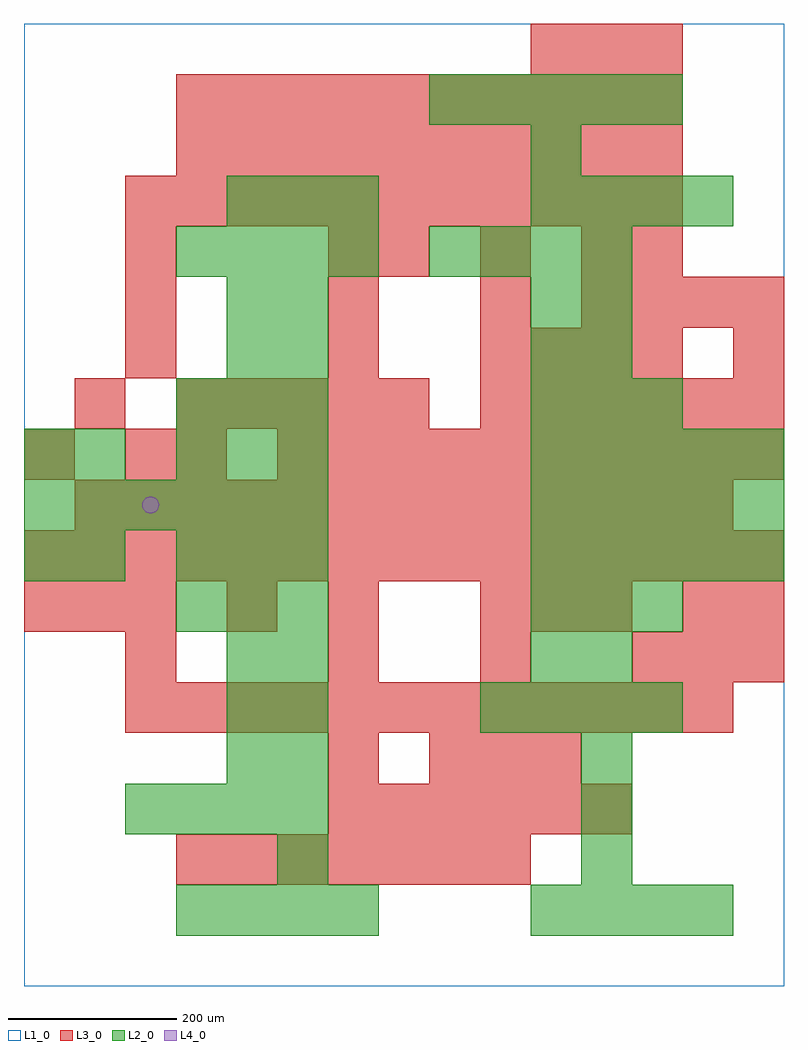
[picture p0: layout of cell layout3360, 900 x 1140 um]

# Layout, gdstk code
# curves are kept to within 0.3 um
import gdstk
lib = gdstk.Library(unit=1e-6, precision=1e-09)
def R(c, l, rs):  # rectangles x0, y0, x1, y1
    for r in rs: c.add(gdstk.rectangle(r[:2], r[2:], *l))
def A(c, l, x, y, w, h, nx, ny, dx, dy):  # array of equal rectangles
    R(c, l, [(x+i*dx, y+j*dy, x+i*dx+w, y+j*dy+h) for i in range(nx) for j in range(ny)])
def P(c, l, *ps):  # polygons
    for p in ps: c.add(gdstk.Polygon(p, *l))
L1_0 = (1, 0)
L2_0 = (2, 0)
L3_0 = (3, 0)
L4_0 = (4, 0)

layout3360 = lib.new_cell('layout3360')
R(layout3360, L1_0, [(0,0,900,1140)])
A(layout3360, L2_0, 180, 60, 60, 60, 4, 2, 60, 780)
A(layout3360, L2_0, 600, 60, 60, 60, 4, 2, 60, 840)
A(layout3360, L2_0, 660, 120, 60, 60, 1, 3, 0, 60)
A(layout3360, L2_0, 120, 180, 60, 60, 4, 1, 60, 0)
A(layout3360, L2_0, 240, 240, 60, 60, 1, 3, 0, 60)
A(layout3360, L2_0, 300, 240, 60, 60, 1, 3, 0, 60)
A(layout3360, L2_0, 540, 300, 60, 60, 4, 1, 60, 0)
A(layout3360, L2_0, 180, 420, 60, 60, 3, 2, 60, 60)
A(layout3360, L2_0, 600, 420, 60, 60, 3, 2, 60, 240)
A(layout3360, L2_0, 600, 480, 60, 60, 5, 3, 60, 60)
A(layout3360, L2_0, 0, 540, 60, 60, 6, 1, 60, 0)
A(layout3360, L2_0, 180, 600, 60, 60, 3, 2, 60, 60)
A(layout3360, L2_0, 480, 840, 60, 60, 4, 1, 60, 0)
A(layout3360, L2_0, 240, 900, 60, 60, 3, 1, 60, 0)
A(layout3360, L2_0, 480, 1020, 60, 60, 5, 1, 60, 0)
R(layout3360, L2_0, [(300,120,360,180), (600,360,660,420), (660,360,720,420), (0,480,60,540), (60,480,120,540), (0,600,60,660), (60,600,120,660), (240,720,300,780), (300,720,360,780), (600,720,660,780), (660,720,720,780), (240,780,300,840), (300,780,360,840), (600,780,660,840), (660,780,720,840), (600,960,660,1020)])
A(layout3360, L3_0, 180, 120, 60, 60, 7, 1, 60, 0)
A(layout3360, L3_0, 360, 180, 60, 60, 6, 1, 60, 0)
A(layout3360, L3_0, 480, 240, 60, 60, 3, 1, 60, 0)
A(layout3360, L3_0, 120, 300, 60, 60, 12, 1, 60, 0)
A(layout3360, L3_0, 360, 360, 60, 60, 3, 1, 180, 0)
A(layout3360, L3_0, 0, 420, 60, 60, 3, 1, 60, 0)
A(layout3360, L3_0, 540, 420, 60, 60, 3, 1, 60, 0)
A(layout3360, L3_0, 0, 480, 60, 60, 15, 1, 60, 0)
A(layout3360, L3_0, 60, 540, 60, 60, 13, 1, 60, 0)
A(layout3360, L3_0, 300, 600, 60, 60, 10, 1, 60, 0)
A(layout3360, L3_0, 180, 660, 60, 60, 5, 1, 60, 0)
A(layout3360, L3_0, 540, 660, 60, 60, 6, 1, 60, 0)
A(layout3360, L3_0, 120, 720, 60, 60, 1, 3, 0, 60)
A(layout3360, L3_0, 360, 720, 60, 60, 1, 3, 0, 60)
A(layout3360, L3_0, 540, 720, 60, 60, 4, 1, 60, 0)
A(layout3360, L3_0, 660, 780, 60, 60, 4, 1, 60, 0)
A(layout3360, L3_0, 420, 840, 60, 60, 3, 1, 120, 0)
A(layout3360, L3_0, 120, 900, 60, 60, 11, 1, 60, 0)
A(layout3360, L3_0, 180, 960, 60, 60, 10, 2, 60, 60)
A(layout3360, L3_0, 600, 1080, 60, 60, 3, 1, 60, 0)
R(layout3360, L3_0, [(360,240,420,300), (120,360,180,420), (780,360,840,420), (840,360,900,420), (240,420,300,480), (360,420,420,480), (780,420,840,480), (840,420,900,480), (0,600,60,660), (120,600,180,660), (180,600,240,660), (60,660,120,720), (840,720,900,780), (540,780,600,840), (720,840,780,900)])
P(layout3360, L4_0, [(160,570),(159.239,573.827),(157.071,577.071),(153.827,579.239),(150,580),(146.173,579.239),(142.929,577.071),(140.761,573.827),(140,570),(140.761,566.173),(142.929,562.929),(146.173,560.761),(150,560),(153.827,560.761),(157.071,562.929),(159.239,566.173)])

lib.write_gds('layout3360.gds')
